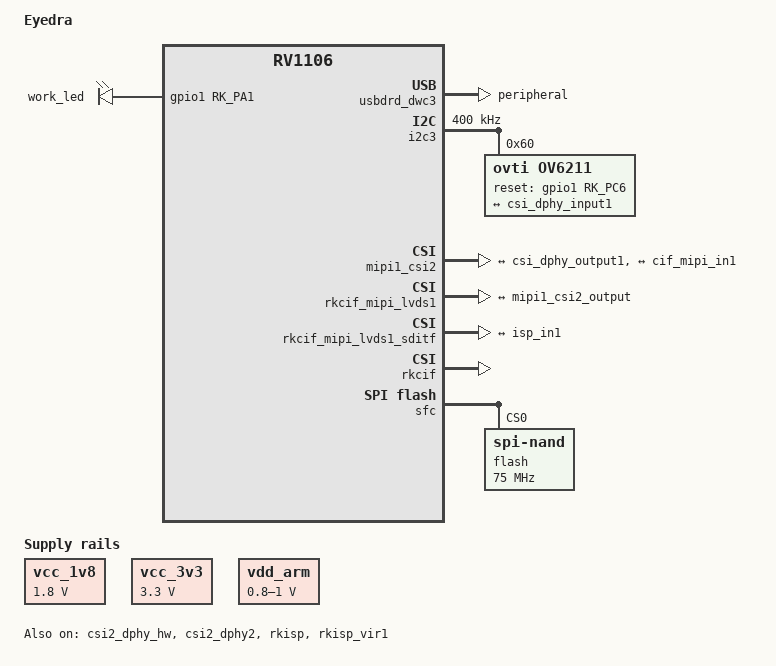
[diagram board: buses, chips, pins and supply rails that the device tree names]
// SPDX-License-Identifier: (GPL-2.0+ OR MIT)
/*
 * Copyright (c) 2022 Rockchip Electronics Co., Ltd.
 */

/dts-v1/;

#include "rv1106g3.dtsi"
#include "rv1106-evb.dtsi"

/ {
	model = "Eyedra";
	compatible = "rockchip,rv1106g3";

	chosen {
		bootargs = "earlycon=uart8250,mmio32,0xff4c0000 console=ttyFIQ0 rootwait snd_soc_core.prealloc_buffer_size_kbytes=16 coherent_pool=0";
	};

	vcc_1v8: vcc-1v8 {
		compatible = "regulator-fixed";
		regulator-name = "vcc_1v8";
		regulator-always-on;
		regulator-boot-on;
		regulator-min-microvolt = <1800000>;
		regulator-max-microvolt = <1800000>;
	};

	vcc_3v3: vcc-3v3 {
		compatible = "regulator-fixed";
		regulator-name = "vcc_3v3";
		regulator-always-on;
		regulator-boot-on;
		regulator-min-microvolt = <3300000>;
		regulator-max-microvolt = <3300000>;
	};

	vdd_arm: vdd-arm {
		compatible = "regulator-fixed";
		regulator-name = "vdd_arm";
		regulator-min-microvolt = <800000>;
		regulator-max-microvolt = <1000000>;
		regulator-init-microvolt = <900000>;
		regulator-always-on;
		regulator-boot-on;
	};

	leds: leds {
		compatible = "gpio-leds";

		work_led: work{
			gpios = <&gpio1 RK_PA1 GPIO_ACTIVE_HIGH>;
			linux,default-trigger = "activity";
			default-state = "on";
		};
	};
};

/***************************** CPU ********************************/
&cpu0 {
	cpu-supply = <&vdd_arm>;
};

/***************************** USB ********************************/
&u2phy_otg {
	rockchip,dis-u2-susphy;
};

&usbdrd_dwc3 {
	dr_mode = "peripheral";
};

/***************************** Camera ********************************/
&csi2_dphy_hw {
	status = "okay";
};

&csi2_dphy2 {
	status = "okay";

	ports {
		#address-cells = <1>;
		#size-cells = <0>;

		port@0 {
			reg = <0>;
			#address-cells = <1>;
			#size-cells = <0>;

			csi_dphy_input1: endpoint@1 {
				reg = <1>;
				remote-endpoint = <&ov6211_out>;
				data-lanes = <1>;
			};
		};

		port@1 {
			reg = <1>;
			#address-cells = <1>;
			#size-cells = <0>;

			csi_dphy_output1: endpoint@0 {
				reg = <0>;
				remote-endpoint = <&mipi1_csi2_input>;
			};
		};
	};
};

&i2c3 {
	status = "okay";
	clock-frequency = <400000>;
	pinctrl-names = "default";
	pinctrl-0 = <&i2c3m2_xfer>;

	ov6211@60 {
		compatible = "ovti,ov6211";
		status = "okay";
		reg = <0x60>;
		clocks = <&cru MCLK_REF_MIPI1>;
		clock-names = "xvclk";
		reset-gpios = <&gpio1 RK_PC6 GPIO_ACTIVE_HIGH>;
		pinctrl-names = "default";
		pinctrl-0 = <&mipi_refclk_out1>;
		rockchip,camera-module-index = <0>;
		rockchip,camera-module-facing = "back";
		rockchip,camera-module-name = "WS-eye-track-S1-1025";
		rockchip,camera-module-lens-name = "default";
		port {
			ov6211_out: endpoint {
				remote-endpoint = <&csi_dphy_input1>;
				data-lanes = <1>;
			};
		};
	};
};

&mipi1_csi2 {
	status = "okay";

	ports {
		#address-cells = <1>;
		#size-cells = <0>;

		port@0 {
			reg = <0>;
			#address-cells = <1>;
			#size-cells = <0>;

			mipi1_csi2_input: endpoint@1 {
				reg = <1>;
				remote-endpoint = <&csi_dphy_output1>;
			};
		};

		port@1 {
			reg = <1>;
			#address-cells = <1>;
			#size-cells = <0>;

			mipi1_csi2_output: endpoint@0 {
				reg = <0>;
				remote-endpoint = <&cif_mipi_in1>;
			};
		};
	};
};

&rkcif_mipi_lvds1 {
	status = "okay";

	port {
		/* MIPI CSI-2 endpoint */
		cif_mipi_in1: endpoint {
			remote-endpoint = <&mipi1_csi2_output>;
		};
	};
};

&rkcif_mipi_lvds1_sditf {
	status = "okay";

	port {
		/* MIPI CSI-2 endpoint */
		mipi_lvds1_sditf: endpoint {
			remote-endpoint = <&isp_in1>;
		};
	};
};

&rkcif {
	status = "okay";
};

&rkisp {
	status = "okay";
};

&rkisp_vir1 {
	status = "okay";

	port@0 {
		isp_in1: endpoint {
			remote-endpoint = <&mipi_lvds1_sditf>;
		};
	};
};

/**********FLASH**********/
&sfc {
	status = "okay";
	flash@0 {
		compatible = "spi-nand";
		reg = <0>;
		spi-max-frequency = <75000000>;
		spi-rx-bus-width = <4>;
		spi-tx-bus-width = <1>;
	};
};
